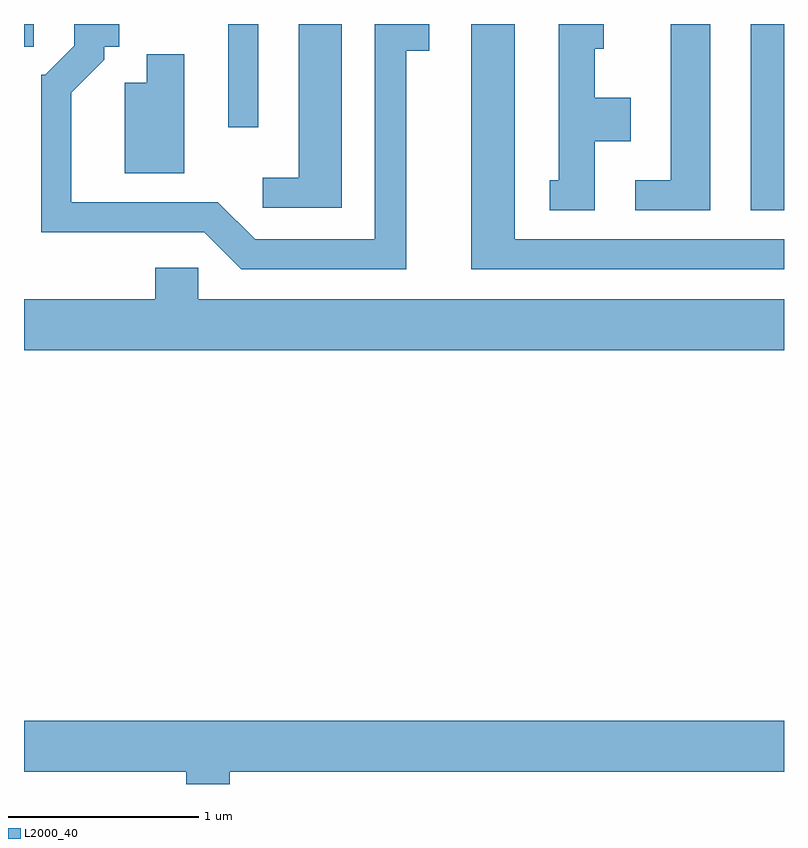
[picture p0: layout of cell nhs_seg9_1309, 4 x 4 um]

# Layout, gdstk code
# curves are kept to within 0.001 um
import gdstk
lib = gdstk.Library(unit=1e-6, precision=1e-09)
def R(c, l, rs):  # rectangles x0, y0, x1, y1
    for r in rs: c.add(gdstk.rectangle(r[:2], r[2:], *l))
def P(c, l, *ps):  # polygons
    for p in ps: c.add(gdstk.Polygon(p, *l))
L2000_40 = (2000, 40)

nhs_seg9_1309 = lib.new_cell('nhs_seg9_1309')
R(nhs_seg9_1309, L2000_40, [(227.436,1981.451,227.611,1982.432), (224.686,1981.888,224.844,1982.432), (223.611,1982.311,223.663,1982.432)])
P(nhs_seg9_1309, L2000_40, [(225.284,1982.432),(225.056,1982.432),(225.056,1981.624),(224.868,1981.624),(224.868,1981.466),(225.284,1981.466)],
  [(227.224,1982.432),(227.016,1982.432),(227.016,1981.609),(226.828,1981.609),(226.828,1981.451),(227.224,1981.451)],
  [(226.614,1981.816),(226.804,1981.816),(226.804,1982.044),(226.614,1982.044),(226.614,1982.301),(226.663,1982.301),(226.663,1982.432),(226.426,1982.432),(226.426,1981.609),(226.378,1981.609),(226.378,1981.451),(226.614,1981.451)],
  [(225.624,1982.291),(225.743,1982.291),(225.743,1982.432),(225.456,1982.432),(225.456,1981.299),(224.827,1981.299),(224.632,1981.494),(223.859,1981.494),(223.859,1982.069),(224.034,1982.244),(224.034,1982.311),(224.113,1982.311),(224.113,1982.432),(223.876,1982.432),(223.876,1982.317),(223.724,1982.164),(223.701,1982.164),(223.701,1981.336),(224.559,1981.336),(224.754,1981.141),(225.624,1981.141)],
  [(227.611,1981.299),(226.194,1981.299),(226.194,1982.432),(225.966,1982.432),(225.966,1981.141),(227.611,1981.141)],
  [(224.454,1982.274),(224.256,1982.274),(224.256,1982.124),(224.141,1982.124),(224.141,1981.646),(224.454,1981.646)],
  [(227.611,1980.984),(224.529,1980.984),(224.529,1981.149),(224.301,1981.149),(224.301,1980.984),(223.611,1980.984),(223.611,1980.716),(227.611,1980.716)],
  [(224.694,1978.496),(227.611,1978.496),(227.611,1978.764),(223.611,1978.764),(223.611,1978.496),(224.466,1978.496),(224.466,1978.432),(224.694,1978.432)])

lib.write_gds('nhs_seg9_1309.gds')
